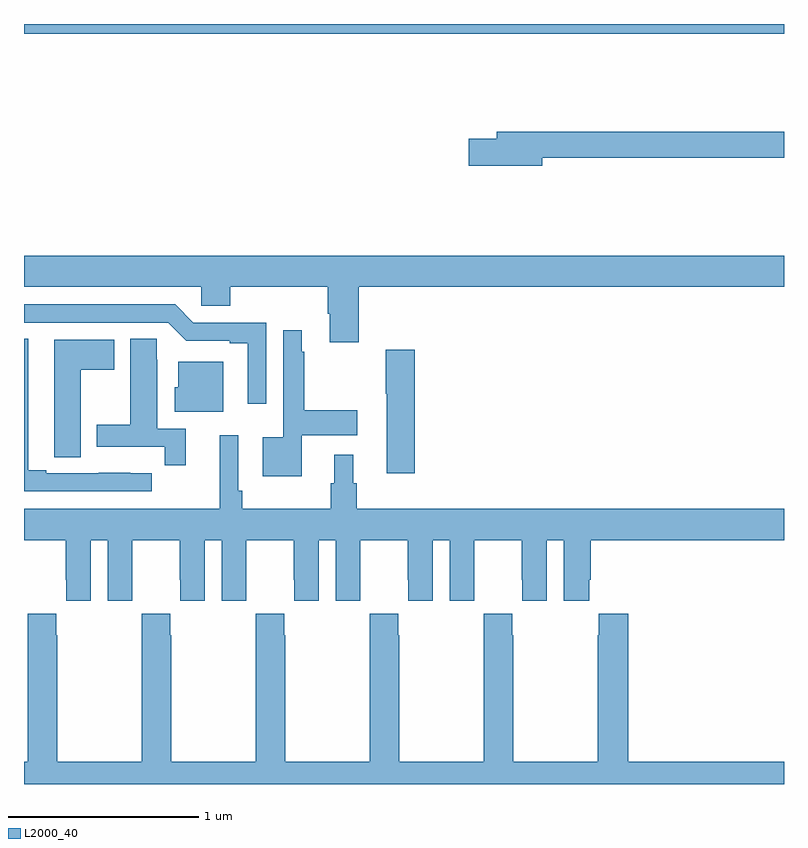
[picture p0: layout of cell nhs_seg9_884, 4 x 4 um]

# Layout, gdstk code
import gdstk
lib = gdstk.Library(unit=1e-6, precision=1e-09)
def R(c, l, rs):  # rectangles x0, y0, x1, y1
    for r in rs: c.add(gdstk.rectangle(r[:2], r[2:], *l))
def P(c, l, *ps):  # polygons
    for p in ps: c.add(gdstk.Polygon(p, *l))
L2000_40 = (2000, 40)

nhs_seg9_884 = lib.new_cell('nhs_seg9_884')
R(nhs_seg9_884, L2000_40, [(159,1168.448,163,1168.5)])
P(nhs_seg9_884, L2000_40, [(161.728,1167.796),(163,1167.796),(163,1167.932),(161.489,1167.932),(161.489,1167.896),(161.34,1167.896),(161.34,1167.754),(161.728,1167.754)],
  [(160.763,1167.116),(163,1167.116),(163,1167.28),(159,1167.28),(159,1167.116),(159.933,1167.116),(159.933,1167.018),(160.085,1167.018),(160.085,1167.116),(160.598,1167.116),(160.598,1166.974),(160.61,1166.974),(160.61,1166.826),(160.763,1166.826)],
  [(160.275,1166.928),(159.891,1166.928),(159.795,1167.024),(159,1167.024),(159,1166.928),(159.759,1166.928),(159.855,1166.832),(160.082,1166.832),(160.082,1166.82),(160.178,1166.82),(160.178,1166.502),(160.275,1166.502)],
  [(160.462,1166.336),(160.753,1166.336),(160.753,1166.466),(160.474,1166.466),(160.474,1166.774),(160.462,1166.774),(160.462,1166.887),(160.365,1166.887),(160.365,1166.326),(160.256,1166.326),(160.256,1166.12),(160.462,1166.12)],
  [(159.851,1166.37),(159.7,1166.37),(159.7,1166.732),(159.699,1166.732),(159.699,1166.843),(159.56,1166.843),(159.56,1166.391),(159.383,1166.391),(159.383,1166.274),(159.742,1166.274),(159.742,1166.178),(159.851,1166.178)],
  [(159.673,1166.136),(159.56,1166.136),(159.56,1166.137),(159.394,1166.137),(159.394,1166.136),(159.118,1166.136),(159.118,1166.151),(159.022,1166.151),(159.022,1166.843),(159,1166.843),(159,1166.04),(159.673,1166.04)],
  [(159.298,1166.68),(159.475,1166.68),(159.475,1166.839),(159.158,1166.839),(159.158,1166.329),(159.159,1166.329),(159.159,1166.221),(159.298,1166.221)],
  [(161.057,1166.785),(160.903,1166.785),(160.903,1166.554),(160.91,1166.554),(160.91,1166.136),(161.057,1166.136)],
  [(160.048,1166.722),(159.812,1166.722),(159.812,1166.589),(159.794,1166.589),(159.794,1166.459),(160.048,1166.459)],
  [(160.732,1166.082),(160.732,1166.233),(160.634,1166.233),(160.634,1166.082),(160.615,1166.082),(160.615,1165.948),(160.148,1165.948),(160.148,1166.044),(160.128,1166.044),(160.128,1166.335),(160.031,1166.335),(160.031,1165.948),(159,1165.948),(159,1165.784),(159.221,1165.784),(159.221,1165.576),(159.222,1165.576),(159.222,1165.464),(159.352,1165.464),(159.352,1165.784),(159.44,1165.784),(159.44,1165.464),(159.57,1165.464),(159.57,1165.576),(159.571,1165.576),(159.571,1165.784),(159.821,1165.784),(159.821,1165.576),(159.822,1165.576),(159.822,1165.464),(159.952,1165.464),(159.952,1165.784),(160.04,1165.784),(160.04,1165.464),(160.17,1165.464),(160.17,1165.576),(160.171,1165.576),(160.171,1165.784),(160.421,1165.784),(160.421,1165.576),(160.422,1165.576),(160.422,1165.464),(160.552,1165.464),(160.552,1165.784),(160.64,1165.784),(160.64,1165.464),(160.77,1165.464),(160.77,1165.576),(160.771,1165.576),(160.771,1165.784),(161.021,1165.784),(161.021,1165.576),(161.022,1165.576),(161.022,1165.464),(161.152,1165.464),(161.152,1165.784),(161.24,1165.784),(161.24,1165.464),(161.37,1165.464),(161.37,1165.576),(161.371,1165.576),(161.371,1165.784),(161.621,1165.784),(161.621,1165.576),(161.622,1165.576),(161.622,1165.464),(161.752,1165.464),(161.752,1165.784),(161.84,1165.784),(161.84,1165.464),(161.974,1165.464),(161.974,1165.576),(161.984,1165.576),(161.984,1165.784),(163,1165.784),(163,1165.948),(160.751,1165.948),(160.751,1166.082)],
  [(159.171,1165.283),(159.171,1165.396),(159.021,1165.396),(159.021,1165.283),(159.019,1165.283),(159.019,1164.616),(159,1164.616),(159,1164.5),(163,1164.5),(163,1164.616),(162.179,1164.616),(162.179,1165.396),(162.025,1165.396),(162.025,1165.283),(162.019,1165.283),(162.019,1164.616),(161.574,1164.616),(161.574,1165.283),(161.571,1165.283),(161.571,1165.396),(161.421,1165.396),(161.421,1165.283),(161.419,1165.283),(161.419,1164.616),(160.974,1164.616),(160.974,1165.283),(160.971,1165.283),(160.971,1165.396),(160.821,1165.396),(160.821,1165.283),(160.819,1165.283),(160.819,1164.616),(160.374,1164.616),(160.374,1165.283),(160.371,1165.283),(160.371,1165.396),(160.221,1165.396),(160.221,1165.283),(160.219,1165.283),(160.219,1164.616),(159.774,1164.616),(159.774,1165.283),(159.771,1165.283),(159.771,1165.396),(159.621,1165.396),(159.621,1165.283),(159.619,1165.283),(159.619,1164.616),(159.174,1164.616),(159.174,1165.283)])

lib.write_gds('nhs_seg9_884.gds')
